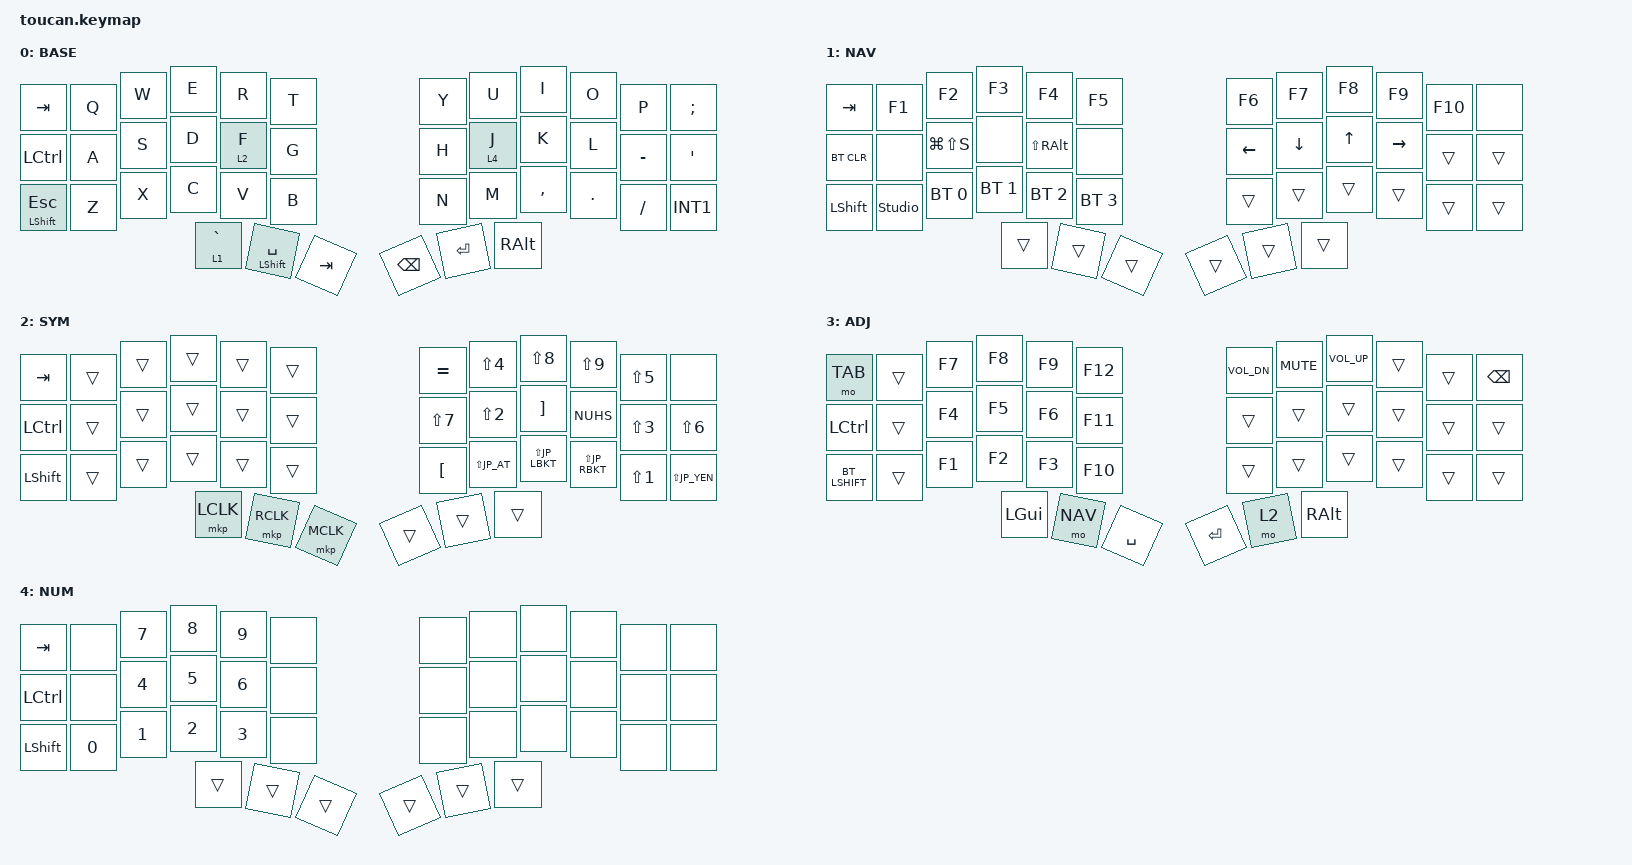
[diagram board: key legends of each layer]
#include <behaviors.dtsi>
#include <dt-bindings/zmk/keys.h>
#include <dt-bindings/zmk/bt.h>
#include <dt-bindings/zmk/pointing.h>
#include <dt-bindings/zmk/outputs.h>

#define JP_ZKHK  GRAVE        // 半角全角
#define JP_CARET EQUAL        // ^
#define JP_YEN   INT3         // ¥
#define JP_AT    LBKT         // @
#define JP_LBKT  RBKT         // [
#define JP_COLON SQT          // :
#define JP_RBKT  NUHS         // ]
#define JP_BSLH  INT1         // (backslash)
#define JP_MHEN  INT5         // Muhenkan (無変換)
#define JP_HENK  INT4         // Henkan (変換)
#define JP_EXCL  LS(N1)       // !
#define JP_DQT   LS(N2)       // "
#define JP_HASH  LS(N3)       // #
#define JP_DLLR  LS(N4)       // $
#define JP_PRCNT LS(N5)       // %
#define JP_AMPS  LS(N6)       // &
#define JP_SQT   LS(N7)       // '
#define JP_LPAR  LS(N8)       // (
#define JP_RPAR  LS(N9)       // )
#define JP_TILDE LS(JP_CARET) // ~
#define JP_PIPE  LS(JP_YEN)   // |
#define JP_GRAVE LS(JP_AT)    // `
#define JP_LBRC  LS(JP_LBKT)  // {
#define JP_CAPS  LS(JP_EISU)  // Caps Lock
#define JP_PLUS  LS(JP_SEMI)  // +
#define JP_ASTRK LS(JP_COLON) // *
#define JP_RBRC  LS(JP_RBKT)  // }
#define JP_UNDER LS(JP_BSLH)  // _

#define BASE 0
#define NAV  1
#define SYM  2
#define ADJ  3
#define NUM  4

/ {
    conditional_layers {
        compatible = "zmk,conditional-layers";
        tri_layer {
            if-layers = <1 2>;
            then-layer = <3>;
        };
    };

    keymap {
        compatible = "zmk,keymap";

        base {
            display-name = "BASE";
            bindings = <
                &kp TAB       &kp Q &kp W &kp E &kp R   &kp T     &kp Y &kp U    &kp I     &kp O   &kp P     &kp SEMI
                &kp LCTRL     &kp A &kp S &kp D &lt 2 F &kp G     &kp H &lt 4 J  &kp K     &kp L   &kp MINUS &kp JP_COLON
                &mt LSHFT ESC &kp Z &kp X &kp C &kp V   &kp B     &kp N &kp M    &kp COMMA &kp DOT &kp FSLH  &kp JP_BSLH
                        &lt 1 JP_ZKHK &mt LSHFT SPACE &kp TAB     &kp BSPC &kp RET &kp RALT
            >;
        };

        nav {
            display-name = "NAV";
            bindings = <
                &kp TAB     &kp F1          &kp F2        &kp F3       &kp F4       &kp F5           &kp F6   &kp F7   &kp F8 &kp F9    &kp F10 &none
                &bt BT_CLR  &none           &kp LG(LS(S)) &none        &kp LS(RALT) &none            &kp LEFT &kp DOWN &kp UP &kp RIGHT &trans  &trans
                &kp LSHFT   &studio_unlock  &bt BT_SEL 0  &bt BT_SEL 1 &bt BT_SEL 2 &bt BT_SEL 3     &trans   &trans   &trans &trans    &trans  &trans
                                                                        &trans  &trans   &trans      &trans   &trans    &trans
            >;
        };

        sym {
            display-name = "SYM";
            bindings = <
                &kp TAB   &trans   &trans &trans   &trans   &trans      &kp JP_CARET &kp JP_DLLR  &kp JP_LPAR &kp JP_RPAR &kp JP_PRCNT &none
                &kp LCTRL &trans   &trans &trans   &trans   &trans      &kp JP_SQT   &kp JP_DQT   &kp JP_LBKT &kp JP_RBKT &kp JP_HASH  &kp JP_AMPS
                &kp LSHFT &trans   &trans &trans   &trans   &trans      &kp JP_AT    &kp JP_GRAVE &kp JP_LBRC &kp JP_RBRC &kp JP_EXCL  &kp JP_PIPE
                               &mkp LCLK    &mkp RCLK    &mkp MCLK      &trans   &trans   &trans
            >;
        };

        adj {
            display-name = "ADJ";
            bindings = <
                &mo TAB   &trans &kp F7 &kp F8 &kp F9 &kp F12   &kp C_VOL_DN &kp C_MUTE  &kp C_VOL_UP &trans &trans &kp BSPC
                &kp LCTRL &trans &kp F4 &kp F5 &kp F6 &kp F11   &trans       &trans      &trans       &trans &trans &trans
                &bt LSHIFT &trans &kp F1 &kp F2 &kp F3 &kp F10   &trans       &trans      &trans       &trans &trans &trans
                                   &kp LGUI &mo NAV &kp SPACE   &kp RET &mo 2 &kp RALT
            >;
        };

        num {
            display-name = "NUM";
            bindings = <
                &kp TAB   &none  &kp N7 &kp N8 &kp N9 &none   &none &none  &none &none &none &none
                &kp LCTRL &none  &kp N4 &kp N5 &kp N6 &none   &none &none  &none &none &none &none
                &kp LSHFT &kp N0 &kp N1 &kp N2 &kp N3 &none   &none &none  &none &none &none &none
                                 &trans  &trans   &trans      &trans   &trans    &trans
            >;
        };

        extra_1 {
                status = "reserved";
        };

        extra_2 {
                status = "reserved";
        };
    };
};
